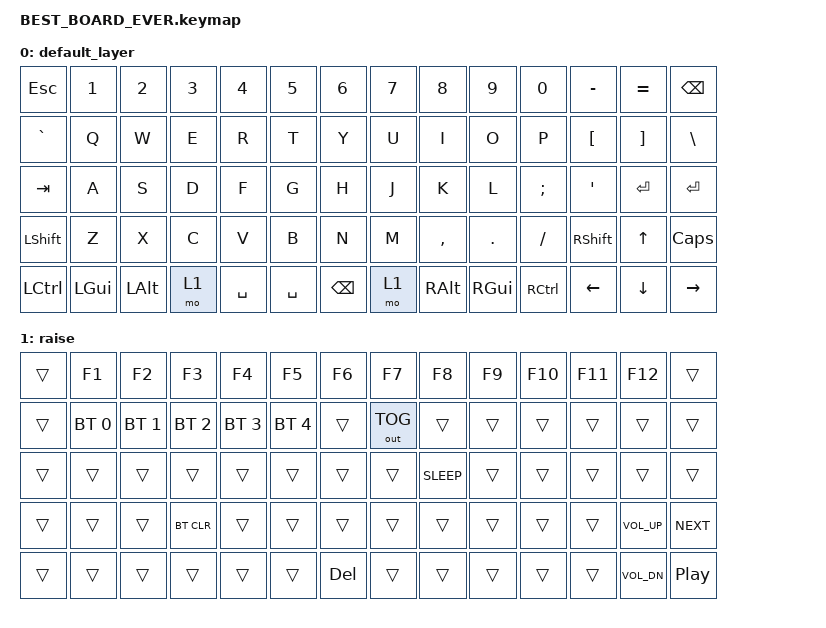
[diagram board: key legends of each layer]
/*
 * Copyright (c) 2020 The ZMK Contributors
 *
 * SPDX-License-Identifier: MIT
 */

#include <behaviors.dtsi>
#include <dt-bindings/zmk/keys.h>
#include <dt-bindings/zmk/bt.h>
#include <dt-bindings/zmk/outputs.h>

/ {
	keymap {
		compatible = "zmk,keymap";

		default_layer {
				// | ESC | 1    |   2   |  3    |  4   |  5    |  6   |  7   |  8   |  9   |  10  |   -   |  =    | BSC  |
				// | GRV | Q    |   W   |  E    |  R   |  T    |  Y   |  U   |  I   |  O   |  P   |   [   |  ]    | \    |
				// | TAB | A    |   S   |  D    |  F   |  G    |  H   |  J   |  K   |  L   |  ;   |   '   |     ENTER    |
				// |LSFT | Z    |   X   |  C    |  V   |  B    |  N   |  M   |  ,   |  .   |  /   | RSHIFT|  UP   | CAPS |
				// |LCTL | LGUI |  LALT | MO(1) |        SPACE        | MO(1)| RALT | RGUI | RCTL | LEFT  | DOWN  | RIGHT|
			bindings = <
				&kp ESC   &kp N1   &kp N2   &kp N3   &kp N4    &kp N5    &kp N6    &kp N7   &kp N8    &kp N9   &kp N0    &kp MINUS &kp EQUAL &kp BSPC  
				&kp GRAVE &kp Q    &kp W    &kp E    &kp R     &kp T     &kp Y     &kp U    &kp I     &kp O    &kp P     &kp LBKT  &kp RBKT  &kp BSLH  
				&kp TAB   &kp A    &kp S    &kp D    &kp F     &kp G     &kp H     &kp J    &kp K     &kp L    &kp SEMI  &kp SQT   &kp RET   &kp RET   
				&kp LSHFT &kp Z    &kp X    &kp C    &kp V     &kp B     &kp N     &kp M    &kp COMMA &kp DOT  &kp FSLH  &kp RSHFT &kp UP    &kp CAPS  
				&kp LCTRL &kp LGUI &kp LALT &mo 1    &kp SPACE &kp SPACE &kp BSPC  &mo 1    &kp RALT  &kp RGUI &kp RCTRL &kp LEFT  &kp DOWN  &kp RIGHT 
			>;
		};

		raise {
			bindings = <
				&trans    &kp F1       &kp F2       &kp F3       &kp F4       &kp F5       &kp F6   &kp F7       &kp F8      &kp F9    &kp F10   &kp F11  &kp F12      &trans     
				&trans    &bt BT_SEL 0 &bt BT_SEL 1 &bt BT_SEL 2 &bt BT_SEL 3 &bt BT_SEL 4 &trans   &out OUT_TOG &trans      &trans    &trans    &trans   &trans       &trans     
				&trans    &trans       &trans       &trans       &trans       &trans       &trans   &trans       &kp K_SLEEP &trans    &trans    &trans   &trans       &trans     
				&trans    &trans       &trans       &bt BT_CLR   &trans       &trans       &trans   &trans       &trans      &trans    &trans    &trans   &kp C_VOL_UP &kp C_NEXT 
				&trans    &trans       &trans       &trans       &trans       &trans       &kp DEL  &trans       &trans      &trans    &trans    &trans   &kp C_VOL_DN &kp C_PP   
			>;
		};
	};
};
